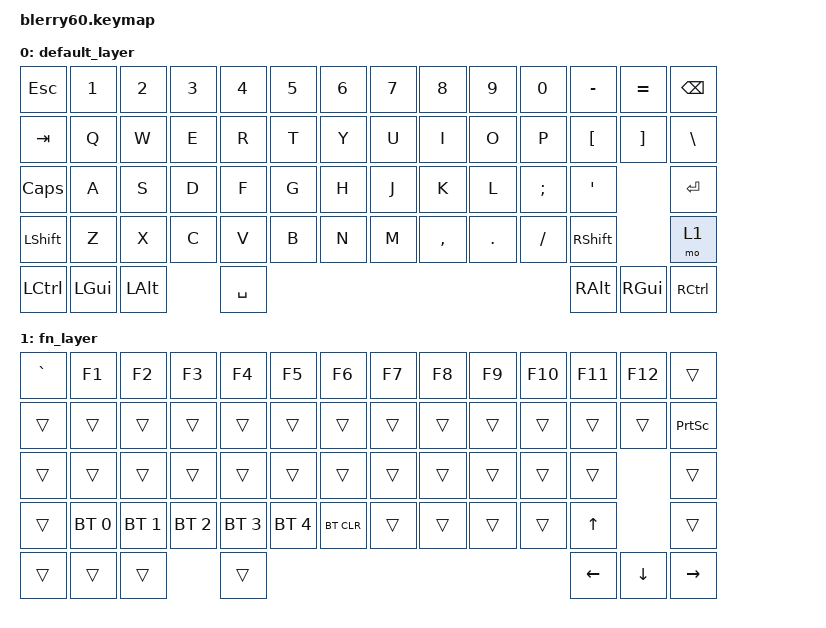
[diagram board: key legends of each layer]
#include <behaviors.dtsi>
#include <dt-bindings/zmk/keys.h>
#include <dt-bindings/zmk/bt.h>
#include <dt-bindings/zmk/outputs.h>
#include <dt-bindings/zmk/rgb.h>
#include <dt-bindings/zmk/ext_power.h>

// See: layout.h for layout options

/ {
	keymap {
		compatible = "zmk,keymap";

		default_layer {
			bindings = <
    &kp ESC          &kp N1           &kp N2        &kp N3        &kp N4        &kp N5           &kp N6           &kp N7           &kp N8           &kp N9           &kp N0           &kp MINUS        &kp EQL          &kp BSPC
    &kp TAB          &kp Q            &kp W         &kp E         &kp R         &kp T            &kp Y            &kp U            &kp I            &kp O            &kp P            &kp LBKT         &kp RBKT         &kp BSLH
    &kp CAPS         &kp A            &kp S         &kp D         &kp F         &kp G            &kp H            &kp J            &kp K            &kp L            &kp SCLN         &kp QUOT                          &kp ENTER
    &kp LSHFT        &kp Z            &kp X         &kp C         &kp V         &kp B            &kp N            &kp M            &kp CMMA         &kp DOT          &kp FSLH         &kp RSHFT                         &mo 1
    &kp LCTRL        &kp LGUI         &kp LALT                    &kp SPACE                                                                                                           &kp RALT         &kp RGUI         &kp RCTRL
			>;
		};

		fn_layer {
			bindings = <
    &kp GRAVE        &kp F1           &kp F2           &kp F3          &kp F4          &kp F5        &kp F6           &kp F7           &kp F8           &kp F9           &kp F10          &kp F11          &kp F12       &trans
    &trans           &trans           &trans           &trans          &trans          &trans        &trans           &trans           &trans           &trans           &trans           &trans           &trans        &kp PSCRN
    &trans           &trans           &trans           &trans          &trans          &trans        &trans           &trans           &trans           &trans           &trans           &trans                         &trans
    &trans           &bt BT_SEL 0     &bt BT_SEL 1     &bt BT_SEL 2    &bt BT_SEL 3    &bt BT_SEL 4  &bt BT_CLR       &trans           &trans           &trans           &trans           &kp UP                         &trans
    &trans           &trans           &trans                           &trans                                                                                                             &kp LEFT         &kp DOWN      &kp RIGHT
			>;
		};

	};
};
